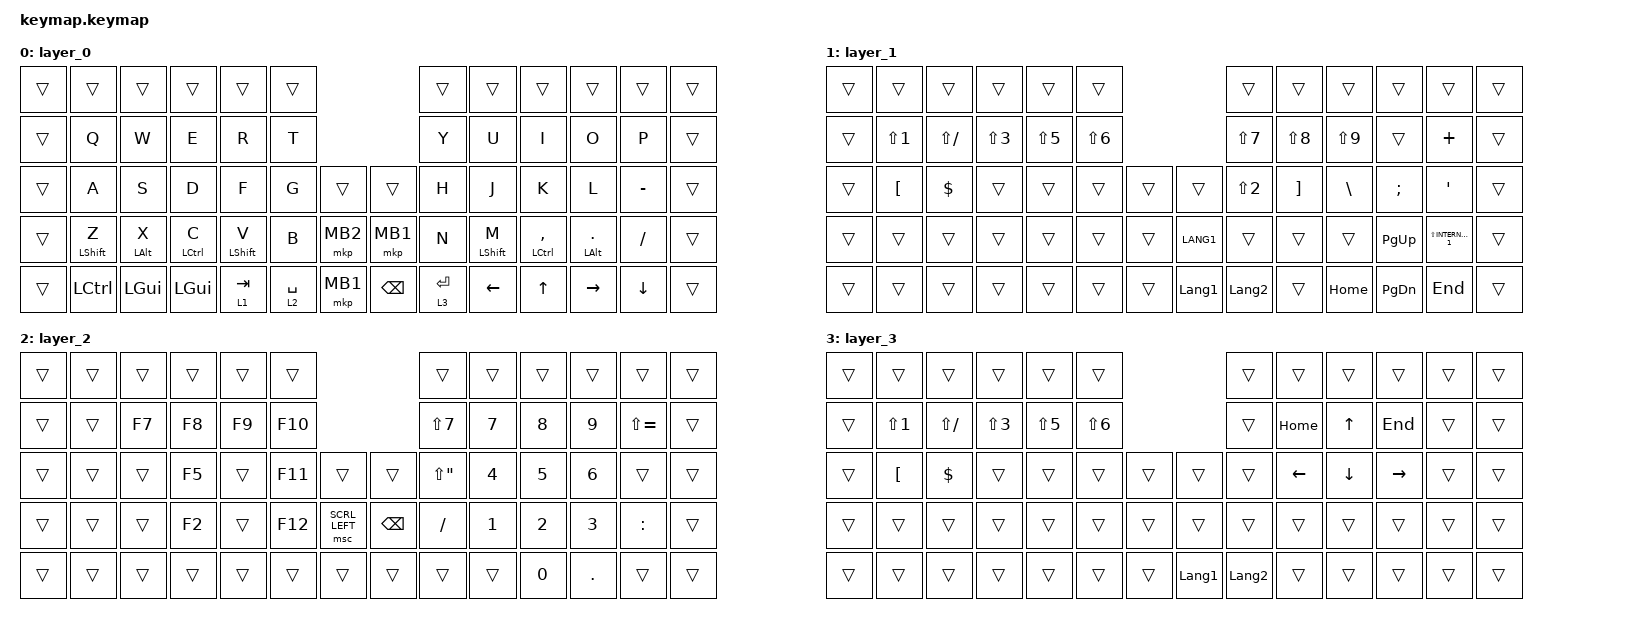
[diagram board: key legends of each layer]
#include <behaviors.dtsi>
#include <dt-bindings/zmk/bt.h>
#include <dt-bindings/zmk/keys.h>
#include <dt-bindings/zmk/pointing.h>

/ {
    combos {
        compatible = "zmk,combos";

        bt_clear {
            bindings = <&bt BT_CLR>;
            key-positions = <28 29>;
            layers = <2>;
        };

        esc {
            bindings = <&kp ESCAPE>;
            key-positions = <13 14>;
        };

        del {
            bindings = <&kp DEL>;
            key-positions = <22 21>;
        };

        mb2 {
            bindings = <&mkp MB2>;
            key-positions = <34 35>;
        };

        mb3 {
            bindings = <&mkp MB3>;
            key-positions = <33 35>;
        };

        mb1 {
            bindings = <&mkp MB1>;
            key-positions = <33 34>;
        };

        mb1lt {
            bindings = <&mkp MB1>;
            key-positions = <28 27>;
        };

        mb2lt {
            bindings = <&mkp MB2>;
            key-positions = <26 27>;
        };

        mb2-3 {
            bindings = <&mkp MB2>;
            key-positions = <46 47>;
        };

        mb3-2 {
            bindings = <&mkp MB3>;
            key-positions = <45 47>;
        };
    };

    behaviors {
        new_ht: new_ht {
            compatible = "zmk,behavior-hold-tap";
            label = "NEW_HT";
            bindings = <&kp>, <&kp>;

            #binding-cells = <2>;
            tapping-term-ms = <200>;
            flavor = "tap-preferred";
        };
    };

    keymap {
        compatible = "zmk,keymap";

        layer_0 {
            bindings = <
&trans  &trans                &trans              &trans                  &trans                &trans                                &trans       &trans                &trans                      &trans                   &trans          &trans
&trans  &kp Q                 &kp W               &kp E                   &kp R                 &kp T                                 &kp Y        &kp U                 &kp I                       &kp O                    &kp P           &trans
&trans  &kp A                 &kp S               &kp D                   &kp F                 &kp G        &trans    &trans         &kp H        &kp J                 &kp K                       &kp L                    &kp MINUS       &trans
&trans  &new_ht LEFT_SHIFT Z  &new_ht LEFT_ALT X  &new_ht LEFT_CONTROL C  &new_ht LEFT_SHIFT V  &kp B        &mkp MB2  &mkp MB1       &kp N        &new_ht LEFT_SHIFT M  &new_ht LEFT_CONTROL COMMA  &new_ht LEFT_ALT PERIOD  &kp SLASH       &trans
&trans  &kp LCTRL             &kp LEFT_GUI        &kp LEFT_GUI            &lt 1 TAB             &lt 2 SPACE  &mkp MB1  &kp BACKSPACE  &lt 3 ENTER  &kp LEFT_ARROW        &kp UP_ARROW                &kp RIGHT                &kp DOWN_ARROW  &trans
            >;
        };

        layer_1 {
            bindings = <
&trans  &trans            &trans         &trans            &trans      &trans                                    &trans            &trans             &trans      &trans         &trans                   &trans
&trans  &kp LS(NUMBER_1)  &kp LS(SLASH)  &kp LS(NUMBER_3)  &kp LS(N5)  &kp LS(NUMBER_6)                          &kp LS(N7)        &kp LS(N8)         &kp LS(N9)  &trans         &kp PLUS                 &trans
&trans  &kp LEFT_BRACKET  &kp DOLLAR     &trans            &trans      &trans            &trans  &trans          &kp LS(NUMBER_2)  &kp RIGHT_BRACKET  &kp BSLH    &kp SEMICOLON  &kp SQT                  &trans
&trans  &trans            &trans         &trans            &trans      &trans            &trans  &kp LANG1       &trans            &trans             &trans      &kp PAGE_UP    &kp LS(INTERNATIONAL_1)  &trans
&trans  &trans            &trans         &trans            &trans      &trans            &trans  &kp LANGUAGE_1  &kp LANGUAGE_2    &trans             &kp HOME    &kp PAGE_DOWN  &kp END                  &trans
            >;
        };

        layer_2 {
            bindings = <
&trans  &trans  &trans  &trans  &trans  &trans                                  &trans                 &trans        &trans        &trans        &trans         &trans
&trans  &trans  &kp F7  &kp F8  &kp F9  &kp F10                                 &kp LS(N7)             &kp N7        &kp N8        &kp N9        &kp LS(EQUAL)  &trans
&trans  &trans  &trans  &kp F5  &trans  &kp F11  &trans          &trans         &kp LS(DOUBLE_QUOTES)  &kp NUMBER_4  &kp N5        &kp NUMBER_6  &trans         &trans
&trans  &trans  &trans  &kp F2  &trans  &kp F12  &msc SCRL_LEFT  &kp BACKSPACE  &kp SLASH              &kp NUMBER_1  &kp NUMBER_2  &kp NUMBER_3  &kp COLON      &trans
&trans  &trans  &trans  &trans  &trans  &trans   &trans          &trans         &trans                 &trans        &kp N0        &kp PERIOD    &trans         &trans
            >;
        };

        layer_3 {
            bindings = <
&trans  &trans            &trans         &trans            &trans      &trans                                    &trans          &trans    &trans        &trans     &trans  &trans
&trans  &kp LS(NUMBER_1)  &kp LS(SLASH)  &kp LS(NUMBER_3)  &kp LS(N5)  &kp LS(NUMBER_6)                          &trans          &kp HOME  &kp UP_ARROW  &kp END    &trans  &trans
&trans  &kp LEFT_BRACKET  &kp DOLLAR     &trans            &trans      &trans            &trans  &trans          &trans          &kp LEFT  &kp DOWN      &kp RIGHT  &trans  &trans
&trans  &trans            &trans         &trans            &trans      &trans            &trans  &trans          &trans          &trans    &trans        &trans     &trans  &trans
&trans  &trans            &trans         &trans            &trans      &trans            &trans  &kp LANGUAGE_1  &kp LANGUAGE_2  &trans    &trans        &trans     &trans  &trans
            >;
        };
    };
};
